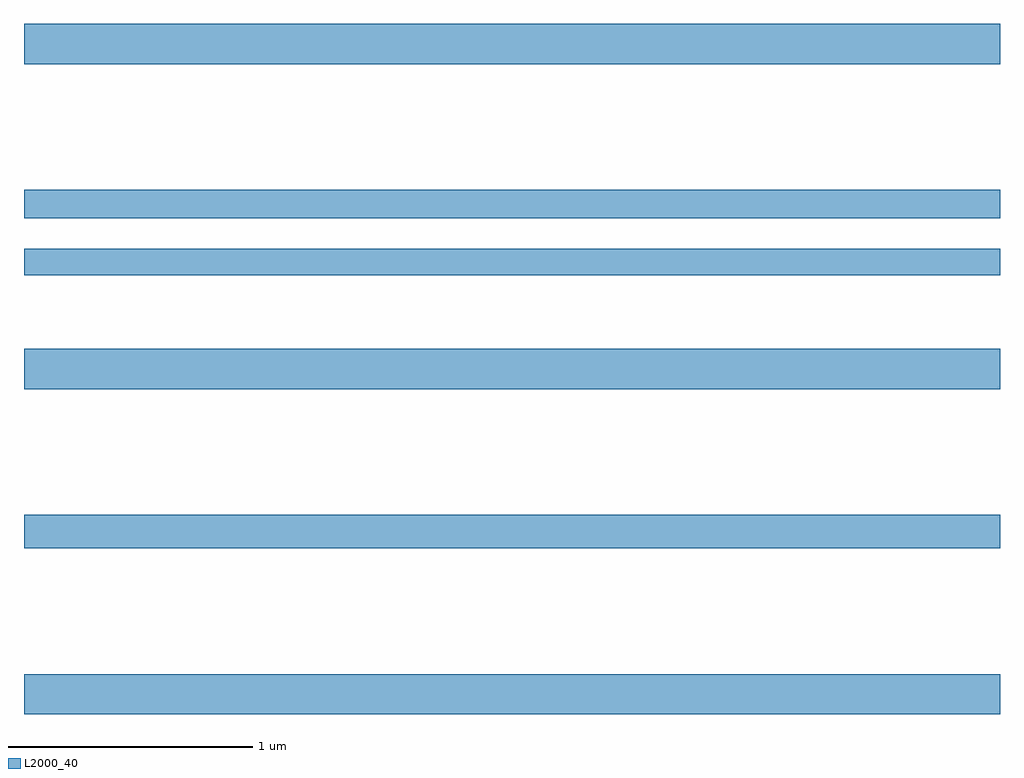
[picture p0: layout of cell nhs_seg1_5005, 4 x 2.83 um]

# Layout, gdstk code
import gdstk
lib = gdstk.Library(unit=1e-6, precision=1e-09)
def R(c, l, rs):  # rectangles x0, y0, x1, y1
    for r in rs: c.add(gdstk.rectangle(r[:2], r[2:], *l))
def A(c, l, x, y, w, h, nx, ny, dx, dy):  # array of equal rectangles
    R(c, l, [(x+i*dx, y+j*dy, x+i*dx+w, y+j*dy+h) for i in range(nx) for j in range(ny)])
L2000_40 = (2000, 40)

nhs_seg1_5005 = lib.new_cell('nhs_seg1_5005')
A(nhs_seg1_5005, L2000_40, 383, 506.444, 4, 0.164, 1, 3, 0, 1.332)
R(nhs_seg1_5005, L2000_40, [(383,507.124,387,507.26), (383,508.242,387,508.35), (383,508.476,387,508.592)])

lib.write_gds('nhs_seg1_5005.gds')
